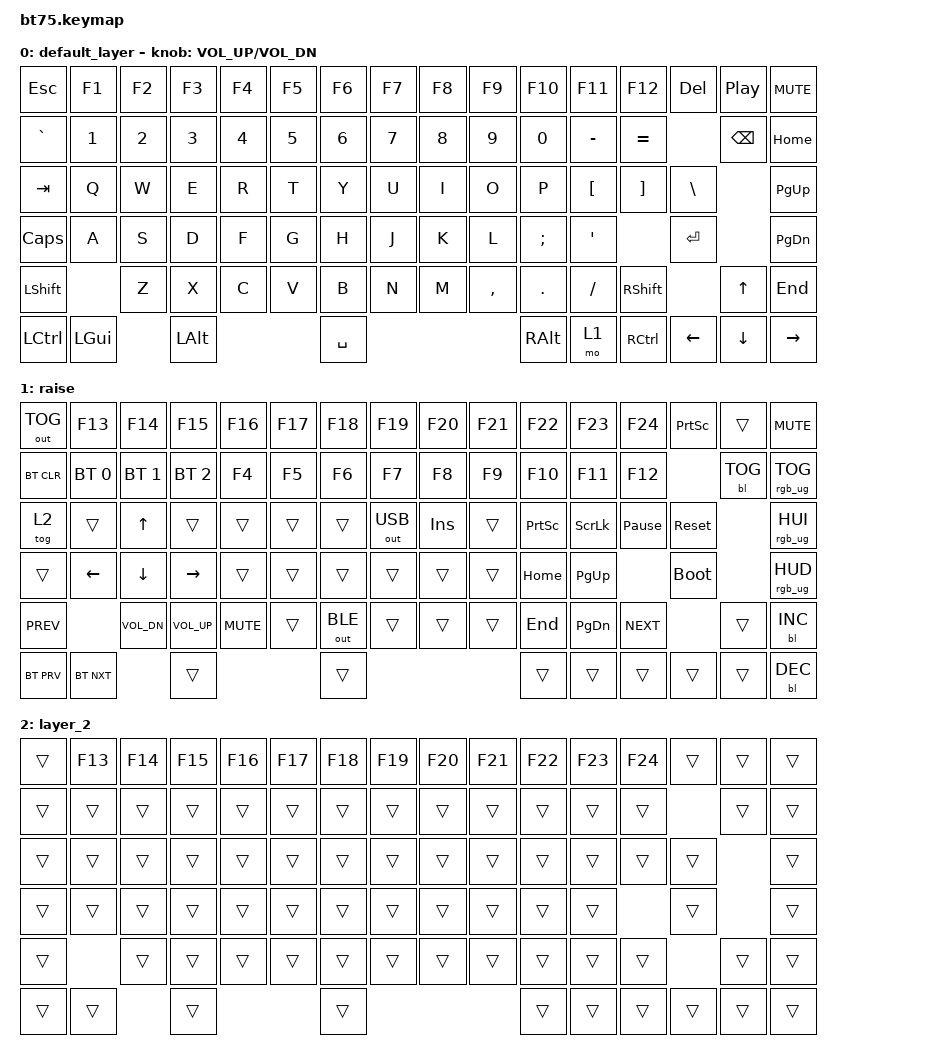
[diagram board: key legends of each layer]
#include <behaviors.dtsi>
#include <dt-bindings/zmk/keys.h>
#include <dt-bindings/zmk/backlight.h>
#include <dt-bindings/zmk/bt.h>
#include <dt-bindings/zmk/outputs.h>
#include <dt-bindings/zmk/rgb.h>
#include <dt-bindings/zmk/ext_power.h>

/ {
    keymap {
        compatible = "zmk,keymap";

        default_layer {
            // ------------------------------------------------------------------------------------------------------------
            // | ESC | F1  | F2  | F3  | F4  | F5  | F6  | F7  | F9  | F9  | F10 | F11 | F12 | DEL | PlayPause | Mute	|
            // |  `  |  1  |  2  |  3  |  4  |  5  |  6  |  7  |  8  |  9  |  0  |  -  |  =  |   BKSP   | HOME	|
            // | TAB  |  Q  |  W  |  E  |  R  |  T  |  Y  |  U  |  I  |  O  |  P  |  [  |  ]  |    \    | PG UP |
            // | CAPS  |  A  |  S  |  D  |  F  |  G  |  H  |  J  |  K  |  L  |  ;  |  '  |     ENTER     | PG DN |
            // |  SHIFT    |  Z  |  X  |  C  |  V  |  B  |  N  |  M  |  ,  |  .  | /   |    SHIFT |  UP  |  END  |
            // |  CTL  |  WIN  |  ALT  |            SPACE               | ALT | 1  | CTRL |  LEFT | DOWN | RIGHT |
            // ------------------------------------------------------------------------------------------------------------

            bindings = <
&kp ESC    &kp F1    &kp F2  &kp F3    &kp F4  &kp F5  &kp F6     &kp F7  &kp F8  &kp F9     &kp F10   &kp F11    &kp F12    &kp DEL   &kp C_PLAY_PAUSE  &kp C_MUTE
&kp GRAVE  &kp N1    &kp N2  &kp N3    &kp N4  &kp N5  &kp N6     &kp N7  &kp N8  &kp N9     &kp N0    &kp MINUS  &kp EQUAL            &kp BACKSPACE     &kp HOME
&kp TAB    &kp Q     &kp W   &kp E     &kp R   &kp T   &kp Y      &kp U   &kp I   &kp O      &kp P     &kp LBKT   &kp RBKT   &kp BSLH                    &kp PG_UP
&kp CLCK   &kp A     &kp S   &kp D     &kp F   &kp G   &kp H      &kp J   &kp K   &kp L      &kp SEMI  &kp SQT               &kp RET                     &kp PG_DN
&kp LSHFT            &kp Z   &kp X     &kp C   &kp V   &kp B      &kp N   &kp M   &kp COMMA  &kp DOT   &kp FSLH   &kp RSHFT            &kp UP            &kp END
&kp LCTRL  &kp LGUI          &kp LALT                  &kp SPACE                             &kp RALT  &mo 1      &kp RCTRL  &kp LEFT  &kp DOWN          &kp RIGHT
            >;

            sensor-bindings = <&inc_dec_kp C_VOL_UP C_VOL_DN>;
        };

        raise {
            bindings = <
&out OUT_TOG  &kp F13       &kp F14       &kp F15       &kp F16     &kp F17  &kp F18       &kp F19       &kp F20  &kp F21  &kp F22    &kp F23    &kp F24          &kp PRINTSCREEN  &trans      &kp C_MUTE
&bt BT_CLR    &bt BT_SEL 0  &bt BT_SEL 1  &bt BT_SEL 2  &kp F4      &kp F5   &kp F6        &kp F7        &kp F8   &kp F9   &kp F10    &kp F11    &kp F12                           &bl BL_TOG  &rgb_ug RGB_TOG
&tog 2        &trans        &kp UP        &trans        &trans      &trans   &trans        &out OUT_USB  &kp INS  &trans   &kp PSCRN  &kp SLCK   &kp PAUSE_BREAK  &sys_reset                   &rgb_ug RGB_HUI
&trans        &kp LEFT      &kp DOWN      &kp RIGHT     &trans      &trans   &trans        &trans        &trans   &trans   &kp HOME   &kp PG_UP                   &bootloader                  &rgb_ug RGB_HUD
&kp C_PREV                  &kp C_VOL_DN  &kp C_VOL_UP  &kp C_MUTE  &trans   &out OUT_BLE  &trans        &trans   &trans   &kp END    &kp PG_DN  &kp C_NEXT                        &trans      &bl BL_INC
&bt BT_PRV    &bt BT_NXT                  &trans                             &trans                                        &trans     &trans     &trans           &trans           &trans      &bl BL_DEC
            >;
        };

        layer_2 {
            bindings = <
&trans  &kp F13  &kp F14  &kp F15  &kp F16  &kp F17  &kp F18  &kp F19  &kp F20  &kp F21  &kp F22  &kp F23  &kp F24  &trans  &trans  &trans
&trans  &trans   &trans   &trans   &trans   &trans   &trans   &trans   &trans   &trans   &trans   &trans   &trans           &trans  &trans
&trans  &trans   &trans   &trans   &trans   &trans   &trans   &trans   &trans   &trans   &trans   &trans   &trans   &trans          &trans
&trans  &trans   &trans   &trans   &trans   &trans   &trans   &trans   &trans   &trans   &trans   &trans            &trans          &trans
&trans           &trans   &trans   &trans   &trans   &trans   &trans   &trans   &trans   &trans   &trans   &trans           &trans  &trans
&trans  &trans            &trans                     &trans                              &trans   &trans   &trans   &trans  &trans  &trans
            >;
        };
    };
};
